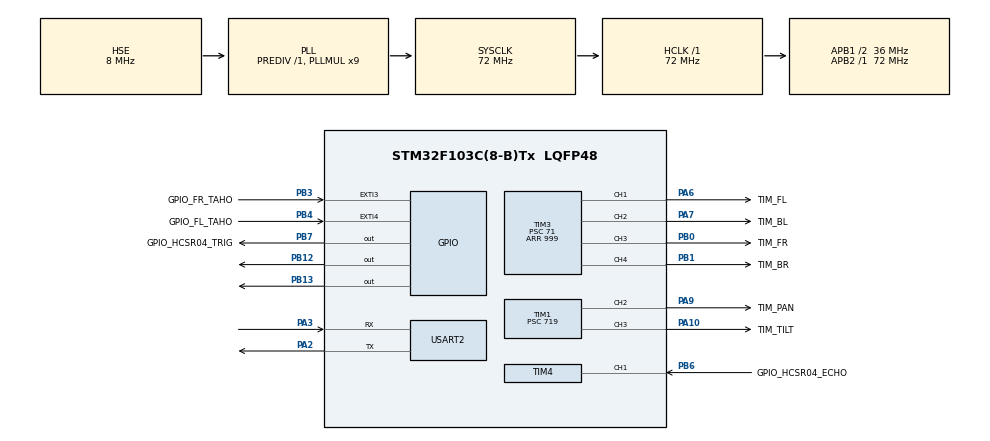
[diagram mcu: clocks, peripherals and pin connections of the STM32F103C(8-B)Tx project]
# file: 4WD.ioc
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Dma.Request0=USART2_RX
Dma.Request1=USART2_TX
Dma.USART2_RX.0.Direction=DMA_PERIPH_TO_MEMORY
Dma.USART2_RX.0.Instance=DMA1_Channel6
Dma.USART2_RX.0.MemDataAlignment=DMA_MDATAALIGN_BYTE
Dma.USART2_RX.0.MemInc=DMA_MINC_ENABLE
Dma.USART2_RX.0.Mode=DMA_NORMAL
Dma.USART2_RX.0.PeriphDataAlignment=DMA_PDATAALIGN_BYTE
Dma.USART2_RX.0.PeriphInc=DMA_PINC_DISABLE
Dma.USART2_RX.0.Priority=DMA_PRIORITY_LOW
Dma.USART2_TX.1.Direction=DMA_MEMORY_TO_PERIPH
Dma.USART2_TX.1.Instance=DMA1_Channel7
Dma.USART2_TX.1.MemDataAlignment=DMA_MDATAALIGN_BYTE
Dma.USART2_TX.1.MemInc=DMA_MINC_ENABLE
Dma.USART2_TX.1.Mode=DMA_NORMAL
Dma.USART2_TX.1.PeriphDataAlignment=DMA_PDATAALIGN_BYTE
Dma.USART2_TX.1.PeriphInc=DMA_PINC_DISABLE
Dma.USART2_TX.1.Priority=DMA_PRIORITY_LOW
FREERTOS.BinarySemaphores01=uartReceiveDoneSem,Dynamic,NULL
FREERTOS.INCLUDE_vTaskPrioritySet=1
FREERTOS.Tasks01=defaultTask,-3,128,StartDefaultTask,Default,NULL,Dynamic,NULL,NULL;uartSendTask,1,128,uartSendTaskFun,Default,NULL,Dynamic,NULL,NULL;uartReceiveTask,0,128,uartReceiveTaskFun,Default,NULL,Dynamic,NULL,NULL;mainCalculation,0,128,mainCalculationFun,Default,NULL,Dynamic,NULL,NULL
FREERTOS.configENABLE_BACKWARD_COMPATIBILITY=0
FREERTOS.configGENERATE_RUN_TIME_STATS=1
FREERTOS.configMAX_TASK_NAME_LEN=20
FREERTOS.configTIMER_TASK_PRIORITY=4
FREERTOS.configUSE_MUTEXES=1
FREERTOS.configUSE_STATS_FORMATTING_FUNCTIONS=1
FREERTOS.configUSE_TIMERS=0
FREERTOS.configUSE_TRACE_FACILITY=1
Mcu.Family=STM32F1
Mcu.Name=STM32F103C(8-B)Tx
Mcu.Package=LQFP48
NVIC.DMA1_Channel6_IRQn=true\:5\:0\:false\:true\:true\:4\:true\:false\:true\:true
NVIC.DMA1_Channel7_IRQn=true\:5\:0\:false\:true\:true\:3\:true\:false\:true\:true
NVIC.EXTI3_IRQn=true\:5\:0\:false\:true\:true\:6\:true\:true\:true\:true
NVIC.EXTI4_IRQn=true\:5\:0\:false\:true\:true\:7\:true\:true\:true\:true
NVIC.PriorityGroup=NVIC_PRIORITYGROUP_4
NVIC.TIM3_IRQn=true\:5\:0\:false\:true\:true\:5\:true\:true\:true\:true
NVIC.TIM4_IRQn=true\:5\:0\:false\:true\:true\:1\:true\:true\:true\:true
NVIC.USART2_IRQn=true\:5\:0\:false\:true\:true\:2\:true\:true\:true\:true
PA10.GPIO_Label=TIM_TILT
PA10.GPIO_ModeDefaultPP=GPIO_MODE_AF_OD
PA10.Signal=S_TIM1_CH3
PA13.Mode=Serial_Wire
PA13.Signal=SYS_JTMS-SWDIO
PA14.Mode=Serial_Wire
PA14.Signal=SYS_JTCK-SWCLK
PA2.Mode=Asynchronous
PA2.Signal=USART2_TX
PA3.Mode=Asynchronous
PA3.Signal=USART2_RX
PA6.GPIO_Label=TIM_FL
PA6.Signal=S_TIM3_CH1
PA7.GPIO_Label=TIM_BL
PA7.Signal=S_TIM3_CH2
PA9.GPIO_Label=TIM_PAN
PA9.GPIO_ModeDefaultPP=GPIO_MODE_AF_OD
PA9.Signal=S_TIM1_CH2
PB0.GPIO_Label=TIM_FR
PB0.Signal=S_TIM3_CH3
PB1.GPIO_Label=TIM_BR
PB1.Signal=S_TIM3_CH4
PB12.Signal=GPIO_Output
PB13.Signal=GPIO_Output
PB3.GPIO_Label=GPIO_FR_TAHO
PB3.GPIO_ModeDefaultEXTI=GPIO_MODE_IT_FALLING
PB3.GPIO_PuPd=GPIO_PULLUP
PB3.Signal=GPXTI3
PB4.GPIO_Label=GPIO_FL_TAHO
PB4.GPIO_ModeDefaultEXTI=GPIO_MODE_IT_FALLING
PB4.GPIO_PuPd=GPIO_PULLUP
PB4.Signal=GPXTI4
PB6.GPIO_Label=GPIO_HCSR04_ECHO
PB6.Signal=S_TIM4_CH1
PB7.GPIO_Label=GPIO_HCSR04_TRIG
PB7.Signal=GPIO_Output
PD0-OSC_IN.Mode=HSE-External-Oscillator
PD0-OSC_IN.Signal=RCC_OSC_IN
PD1-OSC_OUT.Mode=HSE-External-Oscillator
PD1-OSC_OUT.Signal=RCC_OSC_OUT
ProjectManager.HeapSize=0x200
ProjectManager.StackSize=0x400
ProjectManager.TargetToolchain=STM32CubeIDE
RCC.AHBFreq_Value=72000000
RCC.APB1CLKDivider=RCC_HCLK_DIV2
RCC.APB1Freq_Value=36000000
RCC.APB1TimFreq_Value=72000000
RCC.APB2Freq_Value=72000000
RCC.APB2TimFreq_Value=72000000
RCC.HCLKFreq_Value=72000000
RCC.PLLMUL=RCC_PLL_MUL9
RCC.PLLSourceVirtual=RCC_PLLSOURCE_HSE
RCC.SYSCLKFreq_VALUE=72000000
RCC.SYSCLKSource=RCC_SYSCLKSOURCE_PLLCLK
RCC.USBFreq_Value=48000000
RCC.USBPrescaler=RCC_USBCLKSOURCE_PLL_DIV1_5
SH.S_TIM1_CH2.0=TIM1_CH2,PWM Generation2 CH2
SH.S_TIM1_CH3.0=TIM1_CH3,PWM Generation3 CH3
SH.S_TIM3_CH1.0=TIM3_CH1,PWM Generation1 CH1
SH.S_TIM3_CH2.0=TIM3_CH2,PWM Generation2 CH2
SH.S_TIM3_CH3.0=TIM3_CH3,PWM Generation3 CH3
SH.S_TIM3_CH4.0=TIM3_CH4,PWM Generation4 CH4
SH.S_TIM4_CH1.0=TIM4_CH1,Input_Capture1_from_TI1
SH.S_TIM4_CH1.1=TIM4_CH1,Input_Capture2_from_TI1
TIM1.Channel-PWM\ Generation2\ CH2=TIM_CHANNEL_2
TIM1.Channel-PWM\ Generation3\ CH3=TIM_CHANNEL_3
TIM1.Period=1999
TIM1.Prescaler=719
TIM1.Pulse-PWM\ Generation2\ CH2=50
TIM1.Pulse-PWM\ Generation3\ CH3=50
TIM3.Channel-PWM\ Generation1\ CH1=TIM_CHANNEL_1
TIM3.Channel-PWM\ Generation2\ CH2=TIM_CHANNEL_2
TIM3.Channel-PWM\ Generation3\ CH3=TIM_CHANNEL_3
TIM3.Channel-PWM\ Generation4\ CH4=TIM_CHANNEL_4
TIM3.Period=999
TIM3.Prescaler=71
TIM3.Pulse-PWM\ Generation1\ CH1=0
TIM3.Pulse-PWM\ Generation2\ CH2=0
TIM3.Pulse-PWM\ Generation3\ CH3=0
TIM3.Pulse-PWM\ Generation4\ CH4=0
TIM4.Channel-Input_Capture1_from_TI1=TIM_CHANNEL_1
TIM4.Channel-Input_Capture2_from_TI1=TIM_CHANNEL_2
TIM4.ICPolarity_CH2=TIM_INPUTCHANNELPOLARITY_FALLING
TIM4.Prescaler=71
USART2.VirtualMode=VM_ASYNC
VP_FREERTOS_VS_CMSIS_V1.Mode=CMSIS_V1
VP_TIM1_VS_ClockSourceINT.Mode=Internal
VP_TIM3_VS_ClockSourceINT.Mode=Internal
VP_TIM4_VS_ClockSourceINT.Mode=Internal
board=custom

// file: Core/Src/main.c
/* USER CODE BEGIN Header */
/**
  ******************************************************************************
  * @file           : main.c
  * @brief          : Main program body
  ******************************************************************************
  * @attention
  *
  * <h2><center>&copy; Copyright (c) 2021 STMicroelectronics.
  * All rights reserved.</center></h2>
  *
  * This software component is licensed by ST under Ultimate Liberty license
  * SLA0044, the "License"; You may not use this file except in compliance with
  * the License. You may obtain a copy of the License at:
  *                             www.st.com/SLA0044
  *
  ******************************************************************************
  */
/* USER CODE END Header */
#include "main.h"
#include "cmsis_os.h"

/* USER CODE BEGIN Includes */
#include <string.h>
//#include <stdio.h>
#include <math.h>

#include <ledImplementation.h>
/* USER CODE END Includes */

/* USER CODE BEGIN PM */
#pragma GCC push_options
#pragma GCC optimize ("O3")
void delayUS(uint32_t us) {
	volatile uint32_t cycles = (SystemCoreClock/1000000L)*us;
	volatile uint32_t start = DWT->CYCCNT;

	do {
	} while(DWT->CYCCNT - start < cycles);
}
#pragma GCC pop_options

int map(int st1, int fn1, int st2, int fn2, int value)
{
    return (1.0*(value-st1))/((fn1-st1)*1.0) * (fn2-st2)+st2;
}

/* USER CODE END PM */

TIM_HandleTypeDef htim1;
TIM_HandleTypeDef htim3;
TIM_HandleTypeDef htim4;

UART_HandleTypeDef huart2;
DMA_HandleTypeDef hdma_usart2_rx;
DMA_HandleTypeDef hdma_usart2_tx;

osThreadId defaultTaskHandle;
osThreadId uartSendTaskHandle;
osThreadId uartReceiveTaskHandle;
osThreadId mainCalculationHandle;
osSemaphoreId uartReceiveDoneSemHandle;

void SystemClock_Config(void);
static void MX_GPIO_Init(void);
static void MX_DMA_Init(void);
static void MX_TIM4_Init(void);
static void MX_USART2_UART_Init(void);
static void MX_TIM3_Init(void);
static void MX_TIM1_Init(void);
void StartDefaultTask(void const * argument);
void uartSendTaskFun(void const * argument);
void uartReceiveTaskFun(void const * argument);
void mainCalculationFun(void const * argument);

static void MX_NVIC_Init(void);

/* USER CODE BEGIN 0 */
char trans_str[64] = {0,};

static uint16_t rxLen = 16;
static uint8_t rxBuff[16];

static uint16_t txLen = 16;
static uint8_t txBuff[16];

uint16_t angle = 0;
uint16_t radius = 0;
static int pan = 90;
static int tilt = 20;

uint16_t distance = 0;
uint16_t wall = 15;

static int X = 0;
static int Y = 0;
static int L = 0;

static int FB_PWM = 0;
static int TURN_PWM = 0;

uint16_t FR = 0;
uint16_t FL = 0;
uint16_t BR = 0;
uint16_t BL = 0;

uint16_t TIM3_CNT = 0;
uint8_t TAHO_HOLES = 20;
uint16_t FR_TAHO_PULSES = 0;
uint16_t FL_TAHO_PULSES = 0;
uint16_t FR_RPM = 0;
uint16_t FL_RPM = 0;
/* USER CODE END 0 */

int main(void)
{

  /* MCU Configuration--------------------------------------------------------*/

  /* Reset of all peripherals, Initializes the Flash interface and the Systick. */
  HAL_Init();

  /* Configure the system clock */
  SystemClock_Config();

  /* USER CODE BEGIN SysInit */
  SEGGER_SYSVIEW_Conf();
  /* USER CODE END SysInit */

  /* Initialize all configured peripherals */
  MX_GPIO_Init();
  MX_DMA_Init();
  MX_TIM4_Init();
  MX_USART2_UART_Init();
  MX_TIM3_Init();
  MX_TIM1_Init();

  /* Initialize interrupts */
  MX_NVIC_Init();
  /* USER CODE BEGIN 2 */
  SEGGER_RTT_printf(0, "Board Init\n");

  HAL_TIM_Base_Start_IT(&htim3);
  HAL_TIM_PWM_Start(&htim3, TIM_CHANNEL_1);
  HAL_TIM_PWM_Start(&htim3, TIM_CHANNEL_2);
  HAL_TIM_PWM_Start(&htim3, TIM_CHANNEL_3);
  HAL_TIM_PWM_Start(&htim3, TIM_CHANNEL_4);

  HAL_TIM_PWM_Start(&htim1, TIM_CHANNEL_2);
  HAL_TIM_PWM_Start(&htim1, TIM_CHANNEL_3);

  HAL_UART_Receive_IT(&huart2, rxBuff, rxLen);

  /* USER CODE END 2 */

  /* Create the semaphores(s) */
  /* definition and creation of uartReceiveDoneSem */
  osSemaphoreDef(uartReceiveDoneSem);
  uartReceiveDoneSemHandle = osSemaphoreCreate(osSemaphore(uartReceiveDoneSem), 1);

  /* Create the thread(s) */
  /* definition and creation of defaultTask */
  osThreadDef(defaultTask, StartDefaultTask, osPriorityIdle, 0, 128);
  defaultTaskHandle = osThreadCreate(osThread(defaultTask), NULL);

  /* definition and creation of uartSendTask */
  osThreadDef(uartSendTask, uartSendTaskFun, osPriorityAboveNormal, 0, 128);
  uartSendTaskHandle = osThreadCreate(osThread(uartSendTask), NULL);

  /* definition and creation of uartReceiveTask */
  osThreadDef(uartReceiveTask, uartReceiveTaskFun, osPriorityNormal, 0, 128);
  uartReceiveTaskHandle = osThreadCreate(osThread(uartReceiveTask), NULL);

  /* definition and creation of mainCalculation */
  osThreadDef(mainCalculation, mainCalculationFun, osPriorityNormal, 0, 128);
  mainCalculationHandle = osThreadCreate(osThread(mainCalculation), NULL);

  /* Start scheduler */
  osKernelStart();

  /* We should never get here as control is now taken by the scheduler */
  /* Infinite loop */
  while (1)
  {

  }
}

void SystemClock_Config(void)
{
  RCC_OscInitTypeDef RCC_OscInitStruct = {0};
  RCC_ClkInitTypeDef RCC_ClkInitStruct = {0};

  /** Initializes the RCC Oscillators according to the specified parameters
  * in the RCC_OscInitTypeDef structure.
  */
  RCC_OscInitStruct.OscillatorType = RCC_OSCILLATORTYPE_HSE;
  RCC_OscInitStruct.HSEState = RCC_HSE_ON;
  RCC_OscInitStruct.HSEPredivValue = RCC_HSE_PREDIV_DIV1;
  RCC_OscInitStruct.HSIState = RCC_HSI_ON;
  RCC_OscInitStruct.PLL.PLLState = RCC_PLL_ON;
  RCC_OscInitStruct.PLL.PLLSource = RCC_PLLSOURCE_HSE;
  RCC_OscInitStruct.PLL.PLLMUL = RCC_PLL_MUL9;
  if (HAL_RCC_OscConfig(&RCC_OscInitStruct) != HAL_OK)
  {
    Error_Handler();
  }

  /** Initializes the CPU, AHB and APB buses clocks
  */
  RCC_ClkInitStruct.ClockType = RCC_CLOCKTYPE_HCLK|RCC_CLOCKTYPE_SYSCLK
                              |RCC_CLOCKTYPE_PCLK1|RCC_CLOCKTYPE_PCLK2;
  RCC_ClkInitStruct.SYSCLKSource = RCC_SYSCLKSOURCE_PLLCLK;
  RCC_ClkInitStruct.AHBCLKDivider = RCC_SYSCLK_DIV1;
  RCC_ClkInitStruct.APB1CLKDivider = RCC_HCLK_DIV2;
  RCC_ClkInitStruct.APB2CLKDivider = RCC_HCLK_DIV1;

  if (HAL_RCC_ClockConfig(&RCC_ClkInitStruct, FLASH_LATENCY_2) != HAL_OK)
  {
    Error_Handler();
  }
}

/**
  * @brief NVIC Configuration.
  * @retval None
  */
static void MX_NVIC_Init(void)
{
  /* TIM4_IRQn interrupt configuration */
  HAL_NVIC_SetPriority(TIM4_IRQn, 5, 0);
  HAL_NVIC_EnableIRQ(TIM4_IRQn);
  /* USART2_IRQn interrupt configuration */
  HAL_NVIC_SetPriority(USART2_IRQn, 5, 0);
  HAL_NVIC_EnableIRQ(USART2_IRQn);
  /* DMA1_Channel7_IRQn interrupt configuration */
  HAL_NVIC_SetPriority(DMA1_Channel7_IRQn, 5, 0);
  HAL_NVIC_EnableIRQ(DMA1_Channel7_IRQn);
  /* DMA1_Channel6_IRQn interrupt configuration */
  HAL_NVIC_SetPriority(DMA1_Channel6_IRQn, 5, 0);
  HAL_NVIC_EnableIRQ(DMA1_Channel6_IRQn);
  /* TIM3_IRQn interrupt configuration */
  HAL_NVIC_SetPriority(TIM3_IRQn, 5, 0);
  HAL_NVIC_EnableIRQ(TIM3_IRQn);
  /* EXTI3_IRQn interrupt configuration */
  HAL_NVIC_SetPriority(EXTI3_IRQn, 5, 0);
  HAL_NVIC_EnableIRQ(EXTI3_IRQn);
  /* EXTI4_IRQn interrupt configuration */
  HAL_NVIC_SetPriority(EXTI4_IRQn, 5, 0);
  HAL_NVIC_EnableIRQ(EXTI4_IRQn);
}

static void MX_TIM1_Init(void)
{

  TIM_ClockConfigTypeDef sClockSourceConfig = {0};
  TIM_MasterConfigTypeDef sMasterConfig = {0};
  TIM_OC_InitTypeDef sConfigOC = {0};
  TIM_BreakDeadTimeConfigTypeDef sBreakDeadTimeConfig = {0};

  htim1.Instance = TIM1;
  htim1.Init.Prescaler = 719;
  htim1.Init.CounterMode = TIM_COUNTERMODE_UP;
  htim1.Init.Period = 1999;
  htim1.Init.ClockDivision = TIM_CLOCKDIVISION_DIV1;
  htim1.Init.RepetitionCounter = 0;
  htim1.Init.AutoReloadPreload = TIM_AUTORELOAD_PRELOAD_DISABLE;
  if (HAL_TIM_Base_Init(&htim1) != HAL_OK)
  {
    Error_Handler();
  }
  sClockSourceConfig.ClockSource = TIM_CLOCKSOURCE_INTERNAL;
  if (HAL_TIM_ConfigClockSource(&htim1, &sClockSourceConfig) != HAL_OK)
  {
    Error_Handler();
  }
  if (HAL_TIM_PWM_Init(&htim1) != HAL_OK)
  {
    Error_Handler();
  }
  sMasterConfig.MasterOutputTrigger = TIM_TRGO_RESET;
  sMasterConfig.MasterSlaveMode = TIM_MASTERSLAVEMODE_DISABLE;
  if (HAL_TIMEx_MasterConfigSynchronization(&htim1, &sMasterConfig) != HAL_OK)
  {
    Error_Handler();
  }
  sConfigOC.OCMode = TIM_OCMODE_PWM1;
  sConfigOC.Pulse = 50;
  sConfigOC.OCPolarity = TIM_OCPOLARITY_HIGH;
  sConfigOC.OCNPolarity = TIM_OCNPOLARITY_HIGH;
  sConfigOC.OCFastMode = TIM_OCFAST_DISABLE;
  sConfigOC.OCIdleState = TIM_OCIDLESTATE_RESET;
  sConfigOC.OCNIdleState = TIM_OCNIDLESTATE_RESET;
  if (HAL_TIM_PWM_ConfigChannel(&htim1, &sConfigOC, TIM_CHANNEL_2) != HAL_OK)
  {
    Error_Handler();
  }
  if (HAL_TIM_PWM_ConfigChannel(&htim1, &sConfigOC, TIM_CHANNEL_3) != HAL_OK)
  {
    Error_Handler();
  }
  sBreakDeadTimeConfig.OffStateRunMode = TIM_OSSR_DISABLE;
  sBreakDeadTimeConfig.OffStateIDLEMode = TIM_OSSI_DISABLE;
  sBreakDeadTimeConfig.LockLevel = TIM_LOCKLEVEL_OFF;
  sBreakDeadTimeConfig.DeadTime = 0;
  sBreakDeadTimeConfig.BreakState = TIM_BREAK_DISABLE;
  sBreakDeadTimeConfig.BreakPolarity = TIM_BREAKPOLARITY_HIGH;
  sBreakDeadTimeConfig.AutomaticOutput = TIM_AUTOMATICOUTPUT_DISABLE;
  if (HAL_TIMEx_ConfigBreakDeadTime(&htim1, &sBreakDeadTimeConfig) != HAL_OK)
  {
    Error_Handler();
  }
  HAL_TIM_MspPostInit(&htim1);

}

static void MX_TIM3_Init(void)
{

  TIM_ClockConfigTypeDef sClockSourceConfig = {0};
  TIM_MasterConfigTypeDef sMasterConfig = {0};
  TIM_OC_InitTypeDef sConfigOC = {0};

  htim3.Instance = TIM3;
  htim3.Init.Prescaler = 71;
  htim3.Init.CounterMode = TIM_COUNTERMODE_UP;
  htim3.Init.Period = 999;
  htim3.Init.ClockDivision = TIM_CLOCKDIVISION_DIV1;
  htim3.Init.AutoReloadPreload = TIM_AUTORELOAD_PRELOAD_DISABLE;
  if (HAL_TIM_Base_Init(&htim3) != HAL_OK)
  {
    Error_Handler();
  }
  sClockSourceConfig.ClockSource = TIM_CLOCKSOURCE_INTERNAL;
  if (HAL_TIM_ConfigClockSource(&htim3, &sClockSourceConfig) != HAL_OK)
  {
    Error_Handler();
  }
  if (HAL_TIM_PWM_Init(&htim3) != HAL_OK)
  {
    Error_Handler();
  }
  sMasterConfig.MasterOutputTrigger = TIM_TRGO_RESET;
  sMasterConfig.MasterSlaveMode = TIM_MASTERSLAVEMODE_DISABLE;
  if (HAL_TIMEx_MasterConfigSynchronization(&htim3, &sMasterConfig) != HAL_OK)
  {
    Error_Handler();
  }
  sConfigOC.OCMode = TIM_OCMODE_PWM1;
  sConfigOC.Pulse = 0;
  sConfigOC.OCPolarity = TIM_OCPOLARITY_HIGH;
  sConfigOC.OCFastMode = TIM_OCFAST_DISABLE;
  if (HAL_TIM_PWM_ConfigChannel(&htim3, &sConfigOC, TIM_CHANNEL_1) != HAL_OK)
  {
    Error_Handler();
  }
  if (HAL_TIM_PWM_ConfigChannel(&htim3, &sConfigOC, TIM_CHANNEL_2) != HAL_OK)
  {
    Error_Handler();
  }
  if (HAL_TIM_PWM_ConfigChannel(&htim3, &sConfigOC, TIM_CHANNEL_3) != HAL_OK)
  {
    Error_Handler();
  }
  if (HAL_TIM_PWM_ConfigChannel(&htim3, &sConfigOC, TIM_CHANNEL_4) != HAL_OK)
  {
    Error_Handler();
  }
  HAL_TIM_MspPostInit(&htim3);

}

static void MX_TIM4_Init(void)
{

  TIM_ClockConfigTypeDef sClockSourceConfig = {0};
  TIM_MasterConfigTypeDef sMasterConfig = {0};
  TIM_IC_InitTypeDef sConfigIC = {0};

  htim4.Instance = TIM4;
  htim4.Init.Prescaler = 71;
  htim4.Init.CounterMode = TIM_COUNTERMODE_UP;
  htim4.Init.Period = 65535;
  htim4.Init.ClockDivision = TIM_CLOCKDIVISION_DIV1;
  htim4.Init.AutoReloadPreload = TIM_AUTORELOAD_PRELOAD_DISABLE;
  if (HAL_TIM_Base_Init(&htim4) != HAL_OK)
  {
    Error_Handler();
  }
  sClockSourceConfig.ClockSource = TIM_CLOCKSOURCE_INTERNAL;
  if (HAL_TIM_ConfigClockSource(&htim4, &sClockSourceConfig) != HAL_OK)
  {
    Error_Handler();
  }
  if (HAL_TIM_IC_Init(&htim4) != HAL_OK)
  {
    Error_Handler();
  }
  sMasterConfig.MasterOutputTrigger = TIM_TRGO_RESET;
  sMasterConfig.MasterSlaveMode = TIM_MASTERSLAVEMODE_DISABLE;
  if (HAL_TIMEx_MasterConfigSynchronization(&htim4, &sMasterConfig) != HAL_OK)
  {
    Error_Handler();
  }
  sConfigIC.ICPolarity = TIM_INPUTCHANNELPOLARITY_RISING;
  sConfigIC.ICSelection = TIM_ICSELECTION_DIRECTTI;
  sConfigIC.ICPrescaler = TIM_ICPSC_DIV1;
  sConfigIC.ICFilter = 0;
  if (HAL_TIM_IC_ConfigChannel(&htim4, &sConfigIC, TIM_CHANNEL_1) != HAL_OK)
  {
    Error_Handler();
  }
  sConfigIC.ICPolarity = TIM_INPUTCHANNELPOLARITY_FALLING;
  sConfigIC.ICSelection = TIM_ICSELECTION_INDIRECTTI;
  if (HAL_TIM_IC_ConfigChannel(&htim4, &sConfigIC, TIM_CHANNEL_2) != HAL_OK)
  {
    Error_Handler();
  }

}

static void MX_USART2_UART_Init(void)
{

  huart2.Instance = USART2;
  huart2.Init.BaudRate = 115200;
  huart2.Init.WordLength = UART_WORDLENGTH_8B;
  huart2.Init.StopBits = UART_STOPBITS_1;
  huart2.Init.Parity = UART_PARITY_NONE;
  huart2.Init.Mode = UART_MODE_TX_RX;
  huart2.Init.HwFlowCtl = UART_HWCONTROL_NONE;
  huart2.Init.OverSampling = UART_OVERSAMPLING_16;
  if (HAL_UART_Init(&huart2) != HAL_OK)
  {
    Error_Handler();
  }

}

static void MX_DMA_Init(void)
{

  /* DMA controller clock enable */
  __HAL_RCC_DMA1_CLK_ENABLE();

}

static void MX_GPIO_Init(void)
{
  GPIO_InitTypeDef GPIO_InitStruct = {0};

  /* GPIO Ports Clock Enable */
  __HAL_RCC_GPIOD_CLK_ENABLE();
  __HAL_RCC_GPIOA_CLK_ENABLE();
  __HAL_RCC_GPIOB_CLK_ENABLE();

  /*Configure GPIO pin Output Level */
  HAL_GPIO_WritePin(GPIOB, GPIO_PIN_12|GPIO_PIN_13|GPIO_HCSR04_TRIG_Pin, GPIO_PIN_RESET);

  /*Configure GPIO pins : PB12 PB13 GPIO_HCSR04_TRIG_Pin */
  GPIO_InitStruct.Pin = GPIO_PIN_12|GPIO_PIN_13|GPIO_HCSR04_TRIG_Pin;
  GPIO_InitStruct.Mode = GPIO_MODE_OUTPUT_PP;
  GPIO_InitStruct.Pull = GPIO_NOPULL;
  GPIO_InitStruct.Speed = GPIO_SPEED_FREQ_LOW;
  HAL_GPIO_Init(GPIOB, &GPIO_InitStruct);

  /*Configure GPIO pins : GPIO_FR_TAHO_Pin GPIO_FL_TAHO_Pin */
  GPIO_InitStruct.Pin = GPIO_FR_TAHO_Pin|GPIO_FL_TAHO_Pin;
  GPIO_InitStruct.Mode = GPIO_MODE_IT_FALLING;
  GPIO_InitStruct.Pull = GPIO_PULLUP;
  HAL_GPIO_Init(GPIOB, &GPIO_InitStruct);

}

/* USER CODE BEGIN 4 */

// Функция формирует импульс Trig для HCSR04
void GetDistance()
{
	HAL_TIM_IC_Start_IT(&HTIM_HCSR04, TIM_CHANNEL_1);
	HAL_TIM_IC_Start_IT(&HTIM_HCSR04, TIM_CHANNEL_2);

	//HAL_TIM_Base_Start(&htim4);
	HAL_GPIO_WritePin(GPIO_HCSR04_TRIG_GPIO_Port, GPIO_HCSR04_TRIG_Pin, GPIO_PIN_SET);
	delayUS(10); //measure upper in 5us
	//HAL_Delay(30); //measure upper in 1ms
	HAL_GPIO_WritePin(GPIO_HCSR04_TRIG_GPIO_Port, GPIO_HCSR04_TRIG_Pin, GPIO_PIN_RESET);
}

void HAL_TIM_IC_CaptureCallback(TIM_HandleTypeDef *htim) // колбек по захвату
{
	if(htim->Instance == TIM4)
	{
		if(htim->Channel == HAL_TIM_ACTIVE_CHANNEL_1) // RISING с LOW на HIGH
		{
			__HAL_TIM_SET_COUNTER(&HTIM_HCSR04, 0x0000); // обнуление счётчика
		}

		else if(htim->Channel == HAL_TIM_ACTIVE_CHANNEL_2) // FALLING с HIGH на LOW
		{
			uint32_t cnt = HAL_TIM_ReadCapturedValue(&HTIM_HCSR04, TIM_CHANNEL_2); // чтение значения в регистре захвата/сравнения
			distance = cnt*17/1000;
			//snprintf(trans_str, 63, "Pulse %lu cm\n", cnt);
			//HAL_UART_Transmit(&huart2, (uint8_t*)trans_str, strlen(trans_str), 1000);
			HAL_TIM_IC_Stop_IT(&HTIM_HCSR04, TIM_CHANNEL_1);
			HAL_TIM_IC_Stop_IT(&HTIM_HCSR04, TIM_CHANNEL_2);
		}
	}
}

void HAL_TIM_PeriodElapsedCallback(TIM_HandleTypeDef *htim) // колбек по захвату
{
	if(htim->Instance == TIM3)
	{
		TIM3_CNT++;

		if (TIM3_CNT >= 1000){
			FR_RPM = (FR_TAHO_PULSES * 60) / (TAHO_HOLES);
			FL_RPM = (FL_TAHO_PULSES * 60) / (TAHO_HOLES);
			FR_TAHO_PULSES = 0;
			FL_TAHO_PULSES = 0;
			TIM3_CNT = 0;
		}
	}
}

void HAL_GPIO_EXTI_Callback(uint16_t GPIO_Pin)
{
	if(GPIO_Pin== GPIO_FR_TAHO_Pin) {
		FR_TAHO_PULSES++;
	}
	if(GPIO_Pin== GPIO_FL_TAHO_Pin) {
		FL_TAHO_PULSES++;
	}
}

void HAL_UART_RxCpltCallback(UART_HandleTypeDef *huart)
{
	portBASE_TYPE xHigherPriorityTaskWoken = pdFALSE;
	SEGGER_SYSVIEW_RecordEnterISR();
	if (huart->Instance == USART2)
	{
		xSemaphoreGiveFromISR(uartReceiveDoneSemHandle, &xHigherPriorityTaskWoken);
	}
	SEGGER_SYSVIEW_RecordExitISR();
	portYIELD_FROM_ISR(xHigherPriorityTaskWoken);
}

/* USER CODE END 4 */

void StartDefaultTask(void const * argument)
{
  /* USER CODE BEGIN 5 */

	  /* Infinite loop */
	  for(;;)
	  {
		BlueLed.Toggle();

	    SEGGER_RTT_printf(0, "Blink!!!\n\r");

	    osDelay(500);
	  }

  /* USER CODE END 5 */
}

void uartSendTaskFun(void const * argument)
{
  /* USER CODE BEGIN uartSendTaskFun */
  /* Infinite loop */
  for(;;)
  {
    osDelay(100);
  }
  /* USER CODE END uartSendTaskFun */
}

void uartReceiveTaskFun(void const * argument)
{
  /* USER CODE BEGIN uartReceiveTaskFun */

  /* Infinite loop */
  for(;;)
  {
	if(xSemaphoreTake(uartReceiveDoneSemHandle, 300) == pdPASS)
	{
		//SEGGER_SYSVIEW_PrintfHost("uartReceive: ");
		HAL_StatusTypeDef ret = HAL_UART_Receive_DMA(&huart2, rxBuff, rxLen);
		if (ret == HAL_OK)
		{
			//SEGGER_SYSVIEW_Print(rxBuff);
			uint32_t receivedCRC = 0;
			for(int i=0; i<rxLen-3; i++){
				receivedCRC = receivedCRC + rxBuff[i];
			}

		    if ((rxBuff[0] == 0x02) & (rxBuff[rxLen-1] == 0x03) & (((receivedCRC & 0xFF00) >> 8) == rxBuff[rxLen-3]) & ((receivedCRC & 0xFF) == rxBuff[rxLen-2]))
		    {
		    	angle = ((rxBuff[1] - 0x30) * 100 + (rxBuff[2] - 0x30) * 10 + rxBuff[3] - 0x30);
		    	radius = ((rxBuff[4] - 0x30) * 100 + (rxBuff[5] - 0x30) * 10 + rxBuff[6] - 0x30);
		    	pan = ((rxBuff[7] - 0x30) * 100 + (rxBuff[8] - 0x30) * 10 + rxBuff[9] - 0x30);
		    	tilt = ((rxBuff[10] - 0x30) * 100 + (rxBuff[11] - 0x30) * 10 + rxBuff[12] - 0x30);
		    } else {
		    	SEGGER_SYSVIEW_PrintfHost("receivedCRC wrong");
		    }
		    //SEGGER_SYSVIEW_PrintfHost("%u", receivedCRC);

			txBuff[0] = 0x02;
			for(int i=1; i<txLen-3; i++){
				txBuff[i] = rxBuff[i];
			}
			uint32_t transmitCRC = 0;
			for(int i=0; i<txLen-3; i++){
				transmitCRC = transmitCRC + txBuff[i];
			}
			txBuff[txLen-3] = (transmitCRC & 0xFF00) >> 8;
			txBuff[txLen-2] = (transmitCRC & 0xFF);
			txBuff[txLen-1] = 0x03;

		    HAL_UART_Transmit_DMA(&huart2, txBuff, txLen);
		    //SEGGER_SYSVIEW_PrintfHost("uartTransmit: ");
		    //SEGGER_SYSVIEW_PrintfHost((char*)txBuff);
		}
	}
	//else
	//{
	//	SEGGER_SYSVIEW_PrintfHost("uartReceive timeout");
	//}

	osDelay(1);
  }
  /* USER CODE END uartReceiveTaskFun */
}

void mainCalculationFun(void const * argument)
{
  /* USER CODE BEGIN mainCalculationFun */
  /* Infinite loop */
  for(;;)
  {
	GetDistance();

	__HAL_TIM_SET_COMPARE(&htim1, TIM_CHANNEL_2, map(0, 180, 250, 50, pan));
	__HAL_TIM_SET_COMPARE(&htim1, TIM_CHANNEL_3, map(0, 100, 55, 145, tilt));

	X = (int)(radius*cos(angle*2*3.14/360));
	Y = (int)(radius*sin(angle*2*3.14/360));
	L = radius;

	/*
	if (Y > 70){
		wall = 30;
	}

	if (distance <= wall){ // in cm
		if (Y > 0) {
		   Y = 0;
		   L = X;
		}
	}
	*/

	float proportion_koef = (__HAL_TIM_GET_AUTORELOAD(&htim3) + 1)/100;

	if (Y == 0) {
		FB_PWM = 0;
	} else {
		FB_PWM = map(0, 100, 50, 100, abs(Y))*proportion_koef;
	}
	if (L == 0) {
		TURN_PWM = 0;
	} else {
		TURN_PWM = map(0, 100, 50, 100, abs(L))*proportion_koef;
	}

	SEGGER_SYSVIEW_PrintfHost("angle %i,  radius %i,  pan %d,  tilt %d,  distance %i,  X %i,  Y %i,  L %i,  FB_PWM %i,  TURN_PWM %i,  FR_RPM %i,  FL_RPM %i",
								angle, radius, pan, tilt, distance, X, Y, L, FB_PWM, TURN_PWM, FR_RPM, FL_RPM);

	// ForwardRight BackwardRight ForwardLeft BackwardLeft
	if (Y >= 0){
		if (X >= 0){
			FR = FB_PWM;
			BR = 0;
			FL = TURN_PWM;
			BL = 0;
		}
		else {
			FR = TURN_PWM;
			BR = 0;
			FL = FB_PWM;
			BL = 0;
		}
	} else {
		if (X >= 0){
			FR = 0;
			BR = FB_PWM;
			FL = 0;
			BL = TURN_PWM;
		}
		else {
			FR = 0;
			BR = TURN_PWM;
			FL = 0;
			BL = FB_PWM;
		}
	}

	__HAL_TIM_SET_COMPARE(&HTIM_PWM, FL_TIM_CHANNEL, FL); //FR
	__HAL_TIM_SET_COMPARE(&HTIM_PWM, BL_TIM_CHANNEL, BL); //BR
	__HAL_TIM_SET_COMPARE(&HTIM_PWM, FR_TIM_CHANNEL, FR); //FL
	__HAL_TIM_SET_COMPARE(&HTIM_PWM, BR_TIM_CHANNEL, BR); //BL

	osDelay(1000);
  }
  /* USER CODE END mainCalculationFun */
}

void Error_Handler(void)
{
  __disable_irq();
  while (1)
  {
  }
}

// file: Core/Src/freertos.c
/* USER CODE BEGIN Header */
/**
  ******************************************************************************
  * File Name          : freertos.c
  * Description        : Code for freertos applications
  ******************************************************************************
  * @attention
  *
  * <h2><center>&copy; Copyright (c) 2021 STMicroelectronics.
  * All rights reserved.</center></h2>
  *
  * This software component is licensed by ST under Ultimate Liberty license
  * SLA0044, the "License"; You may not use this file except in compliance with
  * the License. You may obtain a copy of the License at:
  *                             www.st.com/SLA0044
  *
  ******************************************************************************
  */
/* USER CODE END Header */

#include "FreeRTOS.h"
#include "task.h"
#include "main.h"

/* GetIdleTaskMemory prototype (linked to static allocation support) */
void vApplicationGetIdleTaskMemory( StaticTask_t **ppxIdleTaskTCBBuffer, StackType_t **ppxIdleTaskStackBuffer, uint32_t *pulIdleTaskStackSize );

/* Hook prototypes */
void configureTimerForRunTimeStats(void);
unsigned long getRunTimeCounterValue(void);

/* USER CODE BEGIN 1 */
/* Functions needed when configGENERATE_RUN_TIME_STATS is on */
__weak void configureTimerForRunTimeStats(void)
{

}

__weak unsigned long getRunTimeCounterValue(void)
{
return 0;
}
/* USER CODE END 1 */

/* USER CODE BEGIN GET_IDLE_TASK_MEMORY */
static StaticTask_t xIdleTaskTCBBuffer;
static StackType_t xIdleStack[configMINIMAL_STACK_SIZE];

void vApplicationGetIdleTaskMemory( StaticTask_t **ppxIdleTaskTCBBuffer, StackType_t **ppxIdleTaskStackBuffer, uint32_t *pulIdleTaskStackSize )
{
  *ppxIdleTaskTCBBuffer = &xIdleTaskTCBBuffer;
  *ppxIdleTaskStackBuffer = &xIdleStack[0];
  *pulIdleTaskStackSize = configMINIMAL_STACK_SIZE;
  /* place for user code */
}
/* USER CODE END GET_IDLE_TASK_MEMORY */
